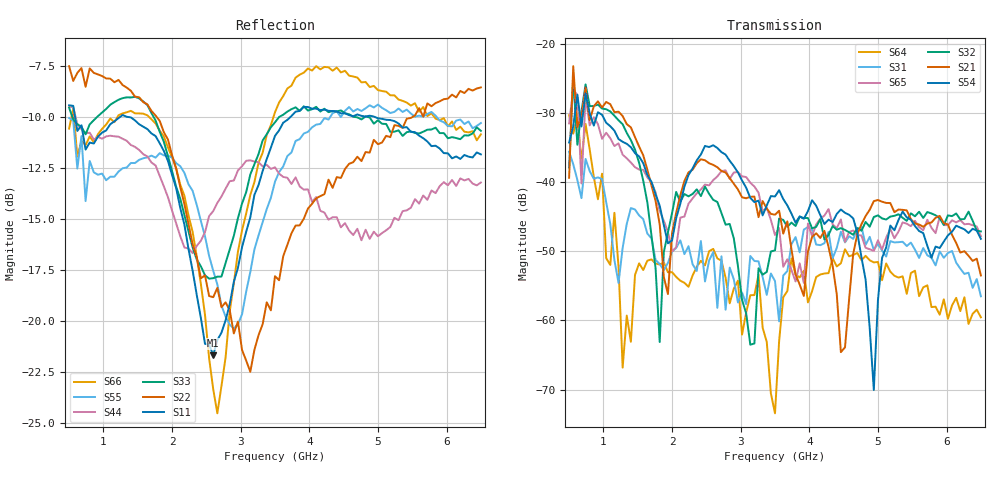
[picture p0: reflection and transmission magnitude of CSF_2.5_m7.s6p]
!Keysight Technologies,M9804A,MY58100912,A.14.10.03
!Date: Thursday, April 27, 2023 10:28:33
!Correction: S11(C  6-Port  )
!S12(C  6-Port  )
!S13(C  6-Port  )
!S14(C  6-Port  )
!S15(C  6-Port  )
!S16(C  6-Port  )
!S21(C  6-Port  )
!S22(C  6-Port  )
!S23(C  6-Port  )
!S24(C  6-Port  )
!S25(C  6-Port  )
!S26(C  6-Port  )
!S31(C  6-Port  )
!S32(C  6-Port  )
!S33(C  6-Port  )
!S34(C  6-Port  )
!S35(C  6-Port  )
!S36(C  6-Port  )
!S41(C  6-Port  )
!S42(C  6-Port  )
!S43(C  6-Port  )
!S44(C  6-Port  )
!S45(C  6-Port  )
!S46(C  6-Port  )
!S51(C  6-Port  )
!S52(C  6-Port  )
!S53(C  6-Port  )
!S54(C  6-Port  )
!S55(C  6-Port  )
!S56(C  6-Port  )
!S61(C  6-Port  )
!S62(C  6-Port  )
!S63(C  6-Port  )
!S64(C  6-Port  )
!S65(C  6-Port  )
!S66(C  6-Port  )
!S6P File: Measurement: :
# Hz S  RI  R 50
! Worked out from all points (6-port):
!   101 points, 500 MHz to 6.5 GHz, reference 50 ohm
!   strongest paths, dB at 500 MHz, 2 GHz, 3.5 GHz, 5 GHz, 6.5 GHz:
!     S54: -34.3, -48.4, -42.1, -57.1, -48.2
!     S21: -39.4, -47.4, -44.7, -42.6, -53.5
!     S32: -38.0, -44.5, -49.9, -44.8, -47.1
!     S65: -31.5, -50.0, -47.7, -48.4, -47.8
!     S31: -35.6, -50.1, -54.3, -48.9, -56.5
!     S64: -30.4, -53.0, -73.4, -51.6, -59.6
!   lowest |S11| = -21.7 dB at 2.6 GHz (marker M1), VSWR 1.18, Z = 42.6 + j2.04 ohm
!   |S11| at or under -10 dB: 587.7 MHz to 1.233 GHz (645 MHz wide, 70.9 % of centre); 1.401 GHz to 3.718 GHz (2.317 GHz wide, 90.5 % of centre); 4.971 GHz to end of sweep
